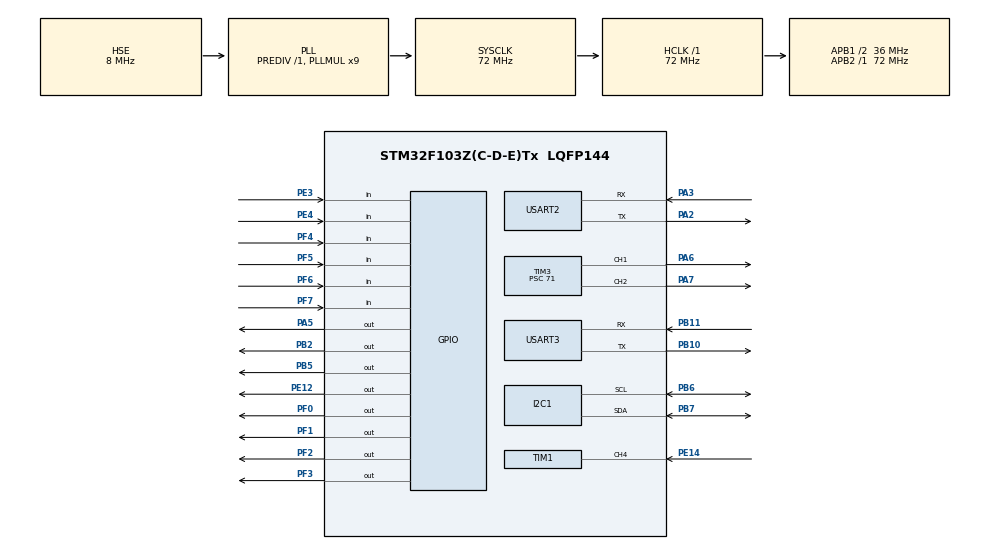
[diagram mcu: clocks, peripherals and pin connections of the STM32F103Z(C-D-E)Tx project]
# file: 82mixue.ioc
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Dma.Request0=USART3_TX
Dma.USART3_TX.0.Direction=DMA_MEMORY_TO_PERIPH
Dma.USART3_TX.0.Instance=DMA1_Channel2
Dma.USART3_TX.0.MemDataAlignment=DMA_MDATAALIGN_BYTE
Dma.USART3_TX.0.MemInc=DMA_MINC_ENABLE
Dma.USART3_TX.0.Mode=DMA_NORMAL
Dma.USART3_TX.0.PeriphDataAlignment=DMA_PDATAALIGN_BYTE
Dma.USART3_TX.0.PeriphInc=DMA_PINC_DISABLE
Dma.USART3_TX.0.Priority=DMA_PRIORITY_LOW
Mcu.Family=STM32F1
Mcu.Name=STM32F103Z(C-D-E)Tx
Mcu.Package=LQFP144
NVIC.DMA1_Channel2_IRQn=true\:0\:0\:false\:false\:true\:false\:true\:true
NVIC.PriorityGroup=NVIC_PRIORITYGROUP_4
NVIC.TIM5_IRQn=true\:0\:0\:false\:false\:true\:true\:true\:true
NVIC.USART2_IRQn=true\:0\:0\:false\:false\:true\:true\:true\:true
NVIC.USART3_IRQn=true\:0\:0\:false\:false\:true\:true\:true\:true
OSC_IN.Mode=HSE-External-Oscillator
OSC_IN.Signal=RCC_OSC_IN
OSC_OUT.Mode=HSE-External-Oscillator
OSC_OUT.Signal=RCC_OSC_OUT
PA13.Mode=Serial_Wire
PA13.Signal=SYS_JTMS-SWDIO
PA14.Mode=Serial_Wire
PA14.Signal=SYS_JTCK-SWCLK
PA2.Mode=Asynchronous
PA2.Signal=USART2_TX
PA3.Mode=Asynchronous
PA3.Signal=USART2_RX
PA5.GPIO_PuPd=GPIO_PULLDOWN
PA5.Signal=GPIO_Output
PA6.Signal=S_TIM3_CH1
PA7.Signal=S_TIM3_CH2
PB10.Mode=Asynchronous
PB10.Signal=USART3_TX
PB11.Mode=Asynchronous
PB11.Signal=USART3_RX
PB2.GPIO_PuPd=GPIO_PULLUP
PB2.Signal=GPIO_Output
PB5.GPIO_PuPd=GPIO_PULLUP
PB5.PinState=GPIO_PIN_RESET
PB5.Signal=GPIO_Output
PB6.Mode=I2C
PB6.Signal=I2C1_SCL
PB7.Mode=I2C
PB7.Signal=I2C1_SDA
PC14-OSC32_IN.Mode=LSE-External-Oscillator
PC14-OSC32_IN.Signal=RCC_OSC32_IN
PC15-OSC32_OUT.Mode=LSE-External-Oscillator
PC15-OSC32_OUT.Signal=RCC_OSC32_OUT
PE12.GPIO_Speed=GPIO_SPEED_FREQ_HIGH
PE12.Signal=GPIO_Output
PE14.Signal=S_TIM1_CH4
PE3.GPIO_PuPd=GPIO_PULLUP
PE3.Signal=GPIO_Input
PE4.GPIO_PuPd=GPIO_PULLUP
PE4.Signal=GPIO_Input
PF0.Signal=GPIO_Output
PF1.Signal=GPIO_Output
PF2.Signal=GPIO_Output
PF3.Signal=GPIO_Output
PF4.GPIO_PuPd=GPIO_PULLUP
PF4.Signal=GPIO_Input
PF5.GPIO_PuPd=GPIO_PULLUP
PF5.Signal=GPIO_Input
PF6.GPIO_PuPd=GPIO_PULLUP
PF6.Signal=GPIO_Input
PF7.GPIO_PuPd=GPIO_PULLUP
PF7.Signal=GPIO_Input
ProjectManager.HeapSize=0x200
ProjectManager.StackSize=0x400
ProjectManager.TargetToolchain=MDK-ARM V5.32
RCC.AHBFreq_Value=72000000
RCC.APB1CLKDivider=RCC_HCLK_DIV2
RCC.APB1Freq_Value=36000000
RCC.APB1TimFreq_Value=72000000
RCC.APB2Freq_Value=72000000
RCC.APB2TimFreq_Value=72000000
RCC.HCLKFreq_Value=72000000
RCC.PLLMUL=RCC_PLL_MUL9
RCC.PLLSourceVirtual=RCC_PLLSOURCE_HSE
RCC.SYSCLKFreq_VALUE=72000000
RCC.SYSCLKSource=RCC_SYSCLKSOURCE_PLLCLK
RCC.USBFreq_Value=72000000
SH.S_TIM1_CH4.0=TIM1_CH4,Input_Capture4_from_TI4
SH.S_TIM3_CH1.0=TIM3_CH1,PWM Generation1 CH1
SH.S_TIM3_CH2.0=TIM3_CH2,PWM Generation2 CH2
TIM1.Channel-Input_Capture4_from_TI4=TIM_CHANNEL_4
TIM1.Prescaler=71
TIM3.Channel-PWM\ Generation1\ CH1=TIM_CHANNEL_1
TIM3.Channel-PWM\ Generation2\ CH2=TIM_CHANNEL_2
TIM3.Period=19999
TIM3.Prescaler=71
TIM5.AutoReloadPreload=TIM_AUTORELOAD_PRELOAD_ENABLE
TIM5.Period=9999
TIM5.Prescaler=71
USART2.VirtualMode=VM_ASYNC
USART3.VirtualMode=VM_ASYNC
VP_TIM5_VS_ClockSourceINT.Mode=Internal
board=custom

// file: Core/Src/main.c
/* USER CODE BEGIN Header */
/*
 * @Author: WSY
 * @Date: 2023-08-02 16:38:13
 * @LastEditors: WSY
 * @LastEditTime: 2023-08-07 15:25:07
 * @FilePath: \8-7-10-52\Core\Src\main.c
 * @Description: ...
 * 日落飞景�????????长河,天地壮我行色
 * Copyright (c) 2023 by WSY, All Rights Reserved.
 */
/* USER CODE END Header */
#include "main.h"
#include "dma.h"
#include "i2c.h"
#include "tim.h"
#include "usart.h"
#include "gpio.h"

/* USER CODE BEGIN Includes */
#include "stdio.h"
#include "Task.h"
#include "OpenMVTrans.h"
#include "VOFA.h"
/* USER CODE END Includes */

void SystemClock_Config(void);

int main(void)
{

  /* MCU Configuration--------------------------------------------------------*/

  /* Reset of all peripherals, Initializes the Flash interface and the Systick. */
  HAL_Init();

  /* Configure the system clock */
  SystemClock_Config();

  /* Initialize all configured peripherals */
  MX_GPIO_Init();
  MX_DMA_Init();
  MX_TIM3_Init();
  MX_USART2_UART_Init();
  MX_TIM5_Init();
  MX_I2C1_Init();
  MX_TIM1_Init();
  MX_USART3_UART_Init();
  /* USER CODE BEGIN 2 */
  // 使能两路PWM 设置初始值为左上�??????
  HAL_TIM_PWM_Start(&htim3, TIM_CHANNEL_1);
  HAL_TIM_PWM_Start(&htim3, TIM_CHANNEL_2);
	HAL_GPIO_WritePin(GPIOB,GPIO_PIN_2,GPIO_PIN_SET);
//  TIM3->CCR1 = 1500;
//  TIM3->CCR2 = 1500;
//  HAL_Delay(2500);
//  // 初始化参�?

	lrControl.P = 0.1;
  lrControl.I = 0.05;
  lrControl.Out = LRMIDPWM;
	upControl.P = 0.04;
  upControl.I = 0.02;
  upControl.Out = UDMIDPWM;
	pointPosition[0] = 109;
	pointPosition[1] = 86;
  // 串口中断
  HAL_UART_Receive_IT(&huart2, &openmvTx, 1);

  /* USER CODE END 2 */

  /* Infinite loop */
  /* USER CODE BEGIN WHILE */
  while (1)
  {
    // 循环串口接收
    if (reciveState == MSG_OK)
      HAL_UART_Receive_IT(&huart2, &openmvTx, 1);
    TaskOne();
    VOFATransmit();
    /* USER CODE END WHILE */

  }
}

void SystemClock_Config(void)
{
  RCC_OscInitTypeDef RCC_OscInitStruct = {0};
  RCC_ClkInitTypeDef RCC_ClkInitStruct = {0};

  /** Initializes the RCC Oscillators according to the specified parameters
  * in the RCC_OscInitTypeDef structure.
  */
  RCC_OscInitStruct.OscillatorType = RCC_OSCILLATORTYPE_HSE;
  RCC_OscInitStruct.HSEState = RCC_HSE_ON;
  RCC_OscInitStruct.HSEPredivValue = RCC_HSE_PREDIV_DIV1;
  RCC_OscInitStruct.HSIState = RCC_HSI_ON;
  RCC_OscInitStruct.PLL.PLLState = RCC_PLL_ON;
  RCC_OscInitStruct.PLL.PLLSource = RCC_PLLSOURCE_HSE;
  RCC_OscInitStruct.PLL.PLLMUL = RCC_PLL_MUL9;
  if (HAL_RCC_OscConfig(&RCC_OscInitStruct) != HAL_OK)
  {
    Error_Handler();
  }

  /** Initializes the CPU, AHB and APB buses clocks
  */
  RCC_ClkInitStruct.ClockType = RCC_CLOCKTYPE_HCLK|RCC_CLOCKTYPE_SYSCLK
                              |RCC_CLOCKTYPE_PCLK1|RCC_CLOCKTYPE_PCLK2;
  RCC_ClkInitStruct.SYSCLKSource = RCC_SYSCLKSOURCE_PLLCLK;
  RCC_ClkInitStruct.AHBCLKDivider = RCC_SYSCLK_DIV1;
  RCC_ClkInitStruct.APB1CLKDivider = RCC_HCLK_DIV2;
  RCC_ClkInitStruct.APB2CLKDivider = RCC_HCLK_DIV1;

  if (HAL_RCC_ClockConfig(&RCC_ClkInitStruct, FLASH_LATENCY_2) != HAL_OK)
  {
    Error_Handler();
  }
}

void Error_Handler(void)
{
  __disable_irq();
  while (1)
  {
  }
}
